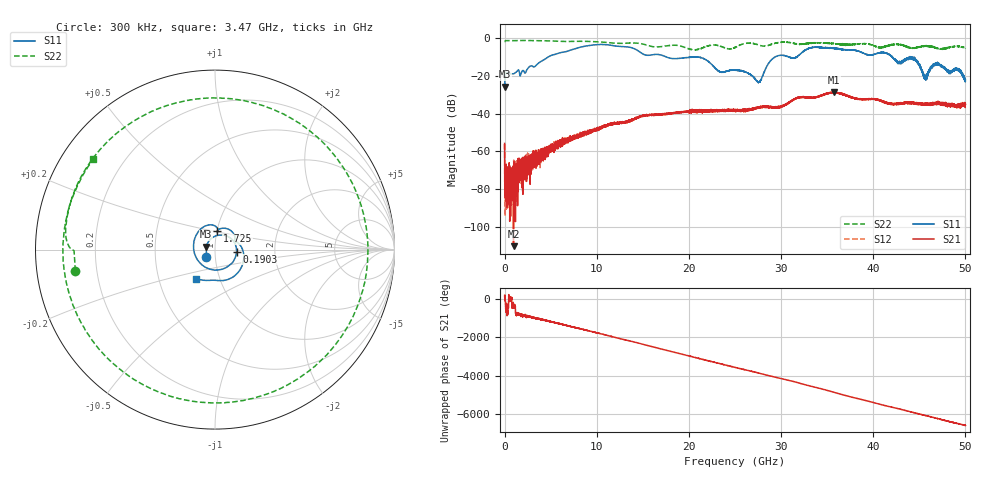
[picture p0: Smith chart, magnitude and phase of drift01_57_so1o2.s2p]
!Created with skrf (http://scikit-rf.org).
# Hz S RI R 50.0
!freq ReS11 ImS11 ReS21 ImS21 ReS12 ImS12 ReS22 ImS22
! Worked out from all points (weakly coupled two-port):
!   10001 points, 300 kHz to 50 GHz, reference 50 ohm
!   highest |S21| = -28.65 dB at 35.74 GHz (marker M1); lowest = -110.2 dB at 965.3 MHz (marker M2)
!   lowest |S11| = -25.8 dB at 5.3 MHz (marker M3), VSWR 1.11, Z = 45.3 + j1.42 ohm
!   |S11| at or under -10 dB: start of sweep to 4.763 GHz; 17.52 GHz to 29.39 GHz (11.87 GHz wide, 50.6 % of centre); 43.99 GHz to end of sweep (the widest 3 of 7)
!   |S22| runs from -6.4 to -1.4 dB; largest |S21 - S12| = 0.0036
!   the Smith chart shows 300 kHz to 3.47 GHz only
!   S11 on the Smith chart (normalised r, x): 300 kHz: 0.91, -0.07; 190.3 MHz: 1.27, -0.03; 1.725 GHz: 1.00, +0.21; 3.47 GHz: 0.77, -0.26
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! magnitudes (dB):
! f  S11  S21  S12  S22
! 300 kHz  -24.2  -55.8  -56.1  -2.1
! 5.3 MHz  -25.8  -70.7  -69.6  -2.1
! 190.3 MHz  -18.3  -86.1  -83.0  -1.4
! 965.3 MHz  -19.0  -110.2  -71.3  -1.5
! 1.725 GHz  -19.8  -71.3  -69.2  -1.4
! 3.47 GHz  -14.3  -60.5  -61.8  -1.5
! 8.335 GHz  -4.8  -52.1  -51.9  -1.8
! 16.67 GHz  -8.7  -40.7  -40.6  -4.8
! 21.21 GHz  -10.3  -38.3  -39.1  -5.8
! 23.39 GHz  -18.0  -38.0  -38.1  -4.3
! 25 GHz  -17.0  -38.6  -38.3  -5.0
! 27.6 GHz  -23.4  -36.8  -36.5  -3.8
! 29.29 GHz  -10.3  -36.8  -36.9  -2.9
! 31.47 GHz  -10.7  -32.2  -32.2  -2.9
! 33.34 GHz  -5.1  -31.6  -31.5  -2.7
! 35.74 GHz  -5.6  -28.6  -28.7  -3.1
! 41.67 GHz  -8.6  -34.3  -34.6  -4.0
! 42.8 GHz  -12.7  -34.8  -34.8  -3.5
! 44.41 GHz  -11.5  -34.1  -34.4  -5.4
! 45.63 GHz  -20.7  -34.8  -35.3  -4.3
! 46.95 GHz  -13.4  -34.4  -34.5  -5.3
! 50 GHz  -22.1  -35.2  -35.5  -5.3
